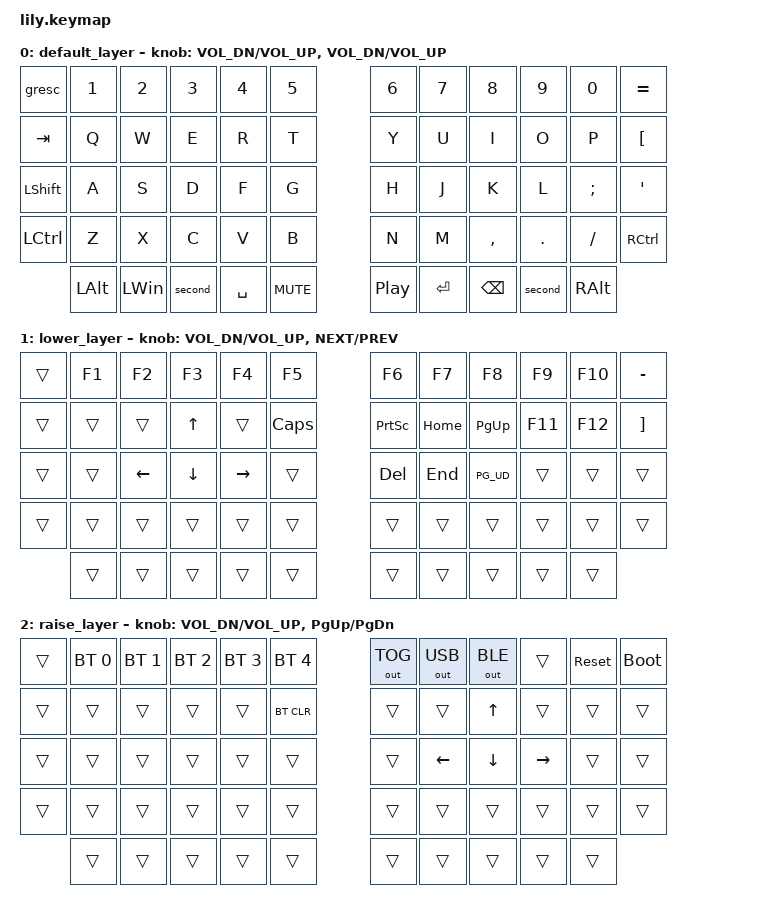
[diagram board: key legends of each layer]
#include <behaviors.dtsi>
#include <dt-bindings/zmk/bt.h>
#include <dt-bindings/zmk/keys.h>
#include <dt-bindings/zmk/outputs.h>

/ {
    combos { compatible = "zmk,combos"; };

    behaviors {
        second: second {
            compatible = "zmk,behavior-mod-morph";
            label = "SECOND";
            bindings = <&mo 1>, <&tog 2>;

            #binding-cells = <0>;
            mods = <(MOD_LALT)>;
        };
    };

    keymap {
        compatible = "zmk,keymap";

        default_layer {
            bindings = <
&gresc     &kp N1        &kp N2        &kp N3   &kp N4      &kp N5                 &kp N6    &kp N7      &kp N8         &kp N9   &kp N0         &kp EQUAL
&kp TAB    &kp Q         &kp W         &kp E    &kp R       &kp T                  &kp Y     &kp U       &kp I          &kp O    &kp P          &kp LBKT
&kp LSHFT  &kp A         &kp S         &kp D    &kp F       &kp G                  &kp H     &kp J       &kp K          &kp L    &kp SEMI       &kp SQT
&kp LCTRL  &kp Z         &kp X         &kp C    &kp V       &kp B                  &kp N     &kp M       &kp COMMA      &kp DOT  &kp FSLH       &kp RCTRL
           &kp LEFT_ALT  &kp LEFT_WIN  &second  &kp SPACE   &kp C_MUTE             &kp C_PP  &kp ENTER   &kp BACKSPACE  &second  &kp RIGHT_ALT
            >;

            sensor-bindings =
                <&inc_dec_kp C_VOL_DN C_VOL_UP>,
                <&inc_dec_kp C_VOL_DN C_VOL_UP>;
        };

        lower_layer {
            bindings = <
&trans  &kp F1  &kp F2    &kp F3    &kp F4     &kp F5                              &kp F6     &kp F7    &kp F8     &kp F9   &kp F10  &kp MINUS
&trans  &trans  &trans    &kp UP    &trans     &kp CAPS                            &kp PSCRN  &kp HOME  &kp PG_UP  &kp F11  &kp F12  &kp RBKT
&trans  &trans  &kp LEFT  &kp DOWN  &kp RIGHT  &trans                              &kp DEL    &kp END   &kp PG_UD  &trans   &trans   &trans
&trans  &trans  &trans    &trans    &trans     &trans                              &trans     &trans    &trans     &trans   &trans   &trans
        &trans  &trans    &trans    &trans     &trans                              &trans     &trans    &trans     &trans   &trans
            >;

            sensor-bindings = <&inc_dec_kp C_VOL_DN C_VOL_UP &inc_dec_kp C_NEXT C_PREV>;
        };

        raise_layer {
            bindings = <
&trans  &bt BT_SEL 0  &bt BT_SEL 1  &bt BT_SEL 2  &bt BT_SEL 3  &bt BT_SEL 4       &out OUT_TOG  &out OUT_USB  &out OUT_BLE  &trans     &sys_reset  &bootloader
&trans  &trans        &trans        &trans        &trans        &bt BT_CLR         &trans        &trans        &kp UP        &trans     &trans      &trans
&trans  &trans        &trans        &trans        &trans        &trans             &trans        &kp LEFT      &kp DOWN      &kp RIGHT  &trans      &trans
&trans  &trans        &trans        &trans        &trans        &trans             &trans        &trans        &trans        &trans     &trans      &trans
        &trans        &trans        &trans        &trans        &trans             &trans        &trans        &trans        &trans     &trans
            >;

            sensor-bindings = <&inc_dec_kp C_VOL_DN C_VOL_UP &inc_dec_kp PG_UP PG_DN>;
        };
    };
};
